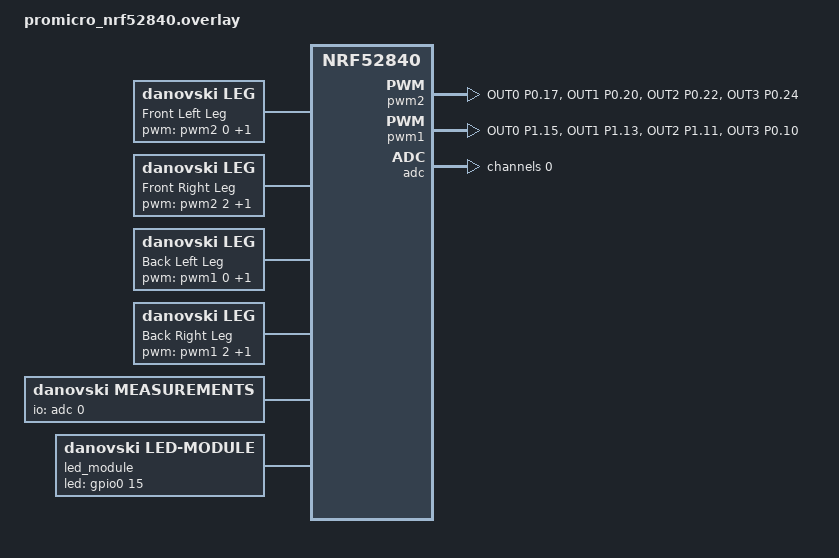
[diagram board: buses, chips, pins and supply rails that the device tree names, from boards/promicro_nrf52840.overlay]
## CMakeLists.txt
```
# Copyright (C) 2026 Georgi Danovski
#
# This program is free software: you can redistribute it and/or modify
# it under the terms of the GNU General Public License as published by
# the Free Software Foundation, either version 3 of the License, or
# (at your option) any later version.
#
# This program is distributed in the hope that it will be useful,
# but WITHOUT ANY WARRANTY; without even the implied warranty of
# MERCHANTABILITY or FITNESS FOR A PARTICULAR PURPOSE.  See the
# GNU General Public License for more details.
#
# You should have received a copy of the GNU General Public License
# along with this program.  If not, see <https://www.gnu.org/licenses/>.

cmake_minimum_required(VERSION 3.20.0)

set(ZEPHYR_EXTRA_MODULES
	${CMAKE_CURRENT_SOURCE_DIR}/modules/leg
	${CMAKE_CURRENT_SOURCE_DIR}/modules/quadruped
	${CMAKE_CURRENT_SOURCE_DIR}/modules/voltage_regulator
	${CMAKE_CURRENT_SOURCE_DIR}/modules/move_controller
	${CMAKE_CURRENT_SOURCE_DIR}/modules/measurements
	${ZEPHYR_EXTRA_MODULES}
)

find_package(Zephyr REQUIRED HINTS $ENV{ZEPHYR_BASE})

project(zephyr_quadrapod)

target_sources(app PRIVATE src/main.c)
```

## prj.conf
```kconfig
# Copyright (C) 2026 Georgi Danovski
#
# This program is free software: you can redistribute it and/or modify
# it under the terms of the GNU General Public License as published by
# the Free Software Foundation, either version 3 of the License, or
# (at your option) any later version.
#
# This program is distributed in the hope that it will be useful,
# but WITHOUT ANY WARRANTY; without even the implied warranty of
# MERCHANTABILITY or FITNESS FOR A PARTICULAR PURPOSE.  See the
# GNU General Public License for more details.
#
# You should have received a copy of the GNU General Public License
# along with this program.  If not, see <https://www.gnu.org/licenses/>.

# Disable bootloader support, as the bootloader is not used in this project
CONFIG_BOARD_HAS_NRF5_BOOTLOADER=n

# Enable RTT console support and logging
CONFIG_CONSOLE=y
CONFIG_PRINTK=y
CONFIG_USE_SEGGER_RTT=y
CONFIG_RTT_CONSOLE=y
CONFIG_UART_CONSOLE=n
CONFIG_LOG=y
CONFIG_LOG_BACKEND_RTT=y

# Enable zephyr modules
CONFIG_PWM=y
CONFIG_SENSOR=y
CONFIG_ADC=y
CONFIG_GPIO=y

# Enable BLE stack
CONFIG_BT=y
CONFIG_BT_PERIPHERAL=y
CONFIG_BT_USER_PHY_UPDATE=y
CONFIG_BT_CTLR_PHY_CODED=y
CONFIG_BT_SMP=y
CONFIG_BT_BONDABLE=y
CONFIG_BT_SETTINGS=y
CONFIG_BT_FILTER_ACCEPT_LIST=y
CONFIG_BT_DEVICE_NAME="Quadruped"
CONFIG_BT_DEVICE_APPEARANCE=0
CONFIG_SETTINGS=y
CONFIG_FLASH=y
CONFIG_FLASH_MAP=y
CONFIG_NVS=y
CONFIG_SETTINGS_NVS=y

# Enable project modules
CONFIG_LEG_MODULE=y
CONFIG_QUADRUPED_MODULE=y
CONFIG_VOLTAGE_REGULATOR_MODULE=y
CONFIG_MOVE_CONTROLLER_MODULE=y
CONFIG_MEASUREMENTS_MODULE=y
CONFIG_BLE_PERIPHERAL_MODULE=y
CONFIG_LED_MODULE=y
```

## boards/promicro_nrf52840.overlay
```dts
#include <zephyr/dt-bindings/adc/adc.h>
#include <zephyr/dt-bindings/adc/nrf-saadc.h>

/*
 * Copyright (C) 2026 Georgi Danovski
 *
 * This program is free software: you can redistribute it and/or modify
 * it under the terms of the GNU General Public License as published by
 * the Free Software Foundation, either version 3 of the License, or
 * (at your option) any later version.
 *
 * This program is distributed in the hope that it will be useful,
  * but WITHOUT ANY WARRANTY; without even the implied warranty of
  * MERCHANTABILITY or FITNESS FOR A PARTICULAR PURPOSE.  See the
  * GNU General Public License for more details.
  *
  * You should have received a copy of the GNU General Public License
  * along with this program.  If not, see <https: //www.gnu.org/licenses/>.
  */
 / {
	 leg_front_left: leg-front-left {
		 compatible = "danovski,leg";
		label = "Front Left Leg";
		pwms = <&pwm2 0 PWM_MSEC(20) PWM_POLARITY_NORMAL>,
		       <&pwm2 1 PWM_MSEC(20) PWM_POLARITY_NORMAL>;
		pwm-names = "coxa", "femur";
		coxa-min-pulse = <PWM_USEC(500)>;
		coxa-max-pulse = <PWM_USEC(2400)>;
		femur-min-pulse = <PWM_USEC(500)>;
		femur-max-pulse = <PWM_USEC(2400)>;
	};

	leg_front_right: leg-front-right {
		compatible = "danovski,leg";
		label = "Front Right Leg";
		pwms = <&pwm2 2 PWM_MSEC(20) PWM_POLARITY_NORMAL>,
		       <&pwm2 3 PWM_MSEC(20) PWM_POLARITY_NORMAL>;
		pwm-names = "coxa", "femur";
		coxa-min-pulse = <PWM_USEC(500)>;
		coxa-max-pulse = <PWM_USEC(2400)>;
		femur-min-pulse = <PWM_USEC(500)>;
		femur-max-pulse = <PWM_USEC(2400)>;
	};

	leg_back_left: leg-back-left {
		compatible = "danovski,leg";
		label = "Back Left Leg";
		pwms = <&pwm1 0 PWM_MSEC(20) PWM_POLARITY_NORMAL>,
		       <&pwm1 1 PWM_MSEC(20) PWM_POLARITY_NORMAL>;
		pwm-names = "coxa", "femur";
		coxa-min-pulse = <PWM_USEC(500)>;
		coxa-max-pulse = <PWM_USEC(2400)>;
		femur-min-pulse = <PWM_USEC(500)>;
		femur-max-pulse = <PWM_USEC(2400)>;
	};

	leg_back_right: leg-back-right {
		compatible = "danovski,leg";
		label = "Back Right Leg";
		pwms = <&pwm1 2 PWM_MSEC(20) PWM_POLARITY_NORMAL>,
		       <&pwm1 3 PWM_MSEC(20) PWM_POLARITY_NORMAL>;
		pwm-names = "coxa", "femur";
		coxa-min-pulse = <PWM_USEC(500)>;
		coxa-max-pulse = <PWM_USEC(2400)>;
		femur-min-pulse = <PWM_USEC(500)>;
		femur-max-pulse = <PWM_USEC(2400)>;
	};

	quadruped: quadruped {
		compatible = "danovski,quadruped";
		label = "Quadruped Robot";
		leg-front-left = <&leg_front_left>;
		leg-front-right = <&leg_front_right>;
		leg-back-left = <&leg_back_left>;
		leg-back-right = <&leg_back_right>;
	};

	measurements: measurements {
		compatible = "danovski,measurements";
		io-channels = <&adc 0>;
		resolution = <12>;
		oversampling = <4>;
		calibrate;
		voltage-divider-r1 = <10780>;
		voltage-divider-r2 = <3080>;
		status = "okay";
	};

	led_module: led-module {
		compatible = "danovski,led-module";
		led-gpios = <&gpio0 15 GPIO_ACTIVE_HIGH>;
		status = "okay";
	};
};


&pinctrl {
	pwm2_default: pwm2_default {
		group1 {
			psels = <NRF_PSEL(PWM_OUT0, 0, 17)>,
			        <NRF_PSEL(PWM_OUT1, 0, 20)>,
			        <NRF_PSEL(PWM_OUT2, 0, 22)>,
			        <NRF_PSEL(PWM_OUT3, 0, 24)>;
		};
	};

	pwm2_sleep: pwm2_sleep {
		group1 {
			psels = <NRF_PSEL(PWM_OUT0, 0, 17)>,
			        <NRF_PSEL(PWM_OUT1, 0, 20)>,
			        <NRF_PSEL(PWM_OUT2, 0, 22)>,
			        <NRF_PSEL(PWM_OUT3, 0, 24)>;
			low-power-enable;
		};
	};

	pwm1_default: pwm1_default {
		group1 {
			psels = <NRF_PSEL(PWM_OUT0, 1, 15)>,
			        <NRF_PSEL(PWM_OUT1, 1, 13)>,
			        <NRF_PSEL(PWM_OUT2, 1, 11)>,
			        <NRF_PSEL(PWM_OUT3, 0, 10)>;
		};
	};

	pwm1_sleep: pwm1_sleep {
		group1 {
			psels = <NRF_PSEL(PWM_OUT0, 1, 15)>,
			        <NRF_PSEL(PWM_OUT1, 1, 13)>,
			        <NRF_PSEL(PWM_OUT2, 1, 11)>,
			        <NRF_PSEL(PWM_OUT3, 0, 10)>;
			low-power-enable;
		};
	};
};

&pwm2 {
	status = "okay";
	pinctrl-0 = <&pwm2_default>;
	pinctrl-1 = <&pwm2_sleep>;
	pinctrl-names = "default", "sleep";
};

&pwm1 {
	status = "okay";
	pinctrl-0 = <&pwm1_default>;
	pinctrl-1 = <&pwm1_sleep>;
	pinctrl-names = "default", "sleep";
};

&adc {
	status = "okay";
	#address-cells = <1>;
	#size-cells = <0>;

	channel@0 {
		reg = <0>;
		zephyr,gain = "ADC_GAIN_1_6";
		zephyr,reference = "ADC_REF_INTERNAL";
		zephyr,acquisition-time = <ADC_ACQ_TIME(ADC_ACQ_TIME_MICROSECONDS, 40)>;
		zephyr,input-positive = <NRF_SAADC_AIN0>;
		zephyr,resolution = <12>;
		zephyr,oversampling = <4>;
	};
};
```

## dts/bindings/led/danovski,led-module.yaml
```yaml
# Copyright (C) 2026 Georgi Danovski
#
# This program is free software: you can redistribute it and/or modify
# it under the terms of the GNU General Public License as published by
# the Free Software Foundation, either version 3 of the License, or
# (at your option) any later version.
#
# This program is distributed in the hope that it will be useful,
# but WITHOUT ANY WARRANTY; without even the implied warranty of
# MERCHANTABILITY or FITNESS FOR A PARTICULAR PURPOSE.  See the
# GNU General Public License for more details.
#
# You should have received a copy of the GNU General Public License
# along with this program.  If not, see <https://www.gnu.org/licenses/>.

description: Danovski LED module node

compatible: "danovski,led-module"

properties:
  led-gpios:
    type: phandle-array
    required: true
    description: GPIO used by the LED module.
```

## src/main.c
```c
/*
 * Copyright (C) 2026 Georgi Danovski
 *
 * This program is free software: you can redistribute it and/or modify
 * it under the terms of the GNU General Public License as published by
 * the Free Software Foundation, either version 3 of the License, or
 * (at your option) any later version.
 *
 * This program is distributed in the hope that it will be useful,
 * but WITHOUT ANY WARRANTY; without even the implied warranty of
 * MERCHANTABILITY or FITNESS FOR A PARTICULAR PURPOSE.  See the
 * GNU General Public License for more details.
 *
 * You should have received a copy of the GNU General Public License
 * along with this program.  If not, see <https://www.gnu.org/licenses/>.
 */

#include <zephyr/kernel.h>
#include <zephyr/logging/log.h>
#include <zephyr/sys/atomic.h>

#include "ble_peripheral/ble_peripheral.h"
#include "led/led.h"
#include "measurements/measurements.h"
#include "move_controller/move_controller.h"
#include "voltage_regulator/voltage_regulator.h"

#define APP_MOVE_DELAY_MS 300u
#define APP_MEASUREMENTS_SAMPLE_PERIOD_MS 1000u
#define APP_MEASUREMENTS_THREAD_STACK_SIZE 1024
#define APP_MEASUREMENTS_THREAD_PRIORITY 7
#define APP_BLE_THREAD_STACK_SIZE 1024
#define APP_BLE_THREAD_PRIORITY 4
#define APP_BLE_NOTIFY_PERIOD_MS 1000u
#define APP_MOVE_THREAD_STACK_SIZE 1024
#define APP_MOVE_THREAD_PRIORITY 5
#define APP_LED_THREAD_STACK_SIZE 1024
#define APP_LED_THREAD_PRIORITY 6
#define APP_LED_PERIOD_MS 1000u

LOG_MODULE_REGISTER(app, CONFIG_APP_LOG_LEVEL);

/* Shared move command state: producer threads update it, movement thread consumes it. */
atomic_t app_move_command = ATOMIC_INIT(MOVE_COMMAND_IDLE);
atomic_t app_voltage_mv = ATOMIC_INIT(0);

static void app_ble_movement_cb(enum move_command movement)
{
    atomic_set(&app_move_command, (atomic_val_t)movement);
}

static int32_t app_ble_voltage_mv_cb(void)
{
    return (int32_t)atomic_get(&app_voltage_mv);
}

static void app_ble_disconnected_cb(void)
{
    LOG_DBG("BLE disconnected, resetting move command to IDLE");
    atomic_set(&app_move_command, (atomic_val_t)MOVE_COMMAND_IDLE);
}

static void app_move_thread(void *arg1, void *arg2, void *arg3)
{
    ARG_UNUSED(arg1);
    ARG_UNUSED(arg2);
    ARG_UNUSED(arg3);

    while (1)
    {
        enum move_command cmd = (enum move_command)atomic_get(&app_move_command);

        if (cmd >= MOVE_COMMAND_COUNT)
        {
            LOG_ERR("Invalid move command in app_move_command: %d", (int)cmd);
            cmd = MOVE_COMMAND_IDLE;
        }

        int ret = move_controller_execute(cmd, APP_MOVE_DELAY_MS);

        if (ret != 0)
        {
            LOG_ERR("move_controller failed: %d", ret);
        }
        k_sleep(K_MSEC(100u));
    }
}

static void app_measurements_thread(void *arg1, void *arg2, void *arg3)
{
    ARG_UNUSED(arg1);
    ARG_UNUSED(arg2);
    ARG_UNUSED(arg3);

    uint32_t avg_mv = 0;
    uint32_t sample_sum = 0;
    const int sample_count = 100;
    bool sample_init = false;

    while (1)
    {
        int ret = measurements_sample_fetch();
        if (ret != 0)
        {
            LOG_ERR("measurements_sample_fetch failed: %d", ret);
            continue;
        }

        struct sensor_value val;
        ret = measurements_channel_get(&val);
        if (ret != 0)
        {
            LOG_ERR("measurements_channel_get failed: %d", ret);
            continue;
        }

        int32_t sample_mv = (val.val1 * 1000) + (val.val2 / 1000);

        if (sample_mv < 0)
        {
            LOG_ERR("Invalid measurement value: %d mV", sample_mv);
            continue;
        }

        /* Initialize moving average with the first sample, then update with a rolling sum. */
        if (!sample_init)
        {
            avg_mv = sample_mv;
            sample_sum = avg_mv * sample_count;
            sample_init = true;
        }
        else
        {
            sample_sum -= avg_mv;
            sample_sum += sample_mv;
            avg_mv = sample_sum / sample_count;
        }

        atomic_set(&app_voltage_mv, (atomic_val_t)avg_mv);
        LOG_DBG("measurements: %d mV (avg: %u mV)", sample_mv, avg_mv);

        k_sleep(K_MSEC(APP_MEASUREMENTS_SAMPLE_PERIOD_MS));
    }
}

static void app_ble_thread(void *arg1, void *arg2, void *arg3)
{
    ARG_UNUSED(arg1);
    ARG_UNUSED(arg2);
    ARG_UNUSED(arg3);

    struct ble_peripheral_cb ble_callbacks = {
        .movement_cb = app_ble_movement_cb,
        .voltage_mv_cb = app_ble_voltage_mv_cb,
        .disconnected_cb = app_ble_disconnected_cb,
    };

    int ret = ble_peripheral_init(&ble_callbacks);

    if (ret != 0)
    {
        LOG_ERR("ble_peripheral_init failed: %d", ret);
    }

    while (1)
    {
        (void)ble_peripheral_notify_voltage_mv();
        k_sleep(K_MSEC(APP_BLE_NOTIFY_PERIOD_MS));
    }
}

static void app_led_thread(void *arg1, void *arg2, void *arg3)
{
    ARG_UNUSED(arg1);
    ARG_UNUSED(arg2);
    ARG_UNUSED(arg3);

    while (1)
    {
        int ret;

        if (ble_peripheral_is_connected())
        {
            ret = led_set(true);
        }
        else
        {
            ret = led_toggle();
        }

        if (ret != 0)
        {
            LOG_ERR("LED update failed: %d", ret);
        }

        k_sleep(K_MSEC(APP_LED_PERIOD_MS));
    }
}

K_THREAD_DEFINE(app_measurements_tid,
                APP_MEASUREMENTS_THREAD_STACK_SIZE,
                app_measurements_thread,
                NULL,
                NULL,
                NULL,
                APP_MEASUREMENTS_THREAD_PRIORITY,
                0,
                0);

K_THREAD_DEFINE(app_move_tid,
                APP_MOVE_THREAD_STACK_SIZE,
                app_move_thread,
                NULL,
                NULL,
                NULL,
                APP_MOVE_THREAD_PRIORITY,
                0,
                0);

K_THREAD_DEFINE(app_ble_tid,
                APP_BLE_THREAD_STACK_SIZE,
                app_ble_thread,
                NULL,
                NULL,
                NULL,
                APP_BLE_THREAD_PRIORITY,
                0,
                0);

K_THREAD_DEFINE(app_led_tid,
                APP_LED_THREAD_STACK_SIZE,
                app_led_thread,
                NULL,
                NULL,
                NULL,
                APP_LED_THREAD_PRIORITY,
                0,
                0);

int main(void)
{
    voltage_regulator_configure_regout0_3v3();

    while (1)
    {
        k_sleep(K_SECONDS(1));
    }

    return 0;
}
```
